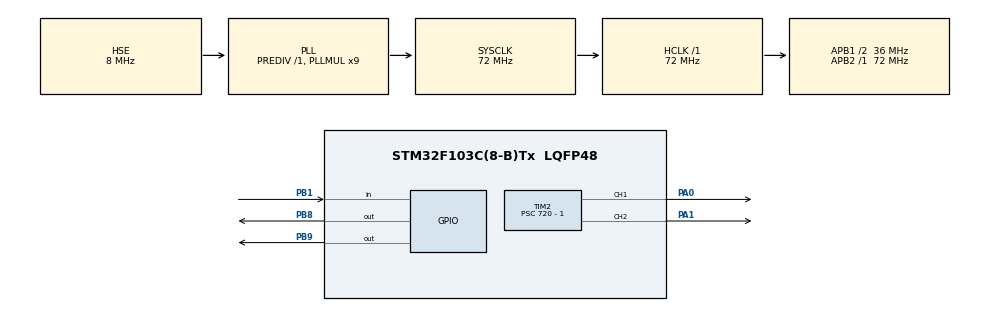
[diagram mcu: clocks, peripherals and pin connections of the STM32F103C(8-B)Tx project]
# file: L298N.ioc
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Mcu.Family=STM32F1
Mcu.Name=STM32F103C(8-B)Tx
Mcu.Package=LQFP48
NVIC.PriorityGroup=NVIC_PRIORITYGROUP_4
PA0-WKUP.Signal=S_TIM2_CH1_ETR
PA1.Signal=S_TIM2_CH2
PA13.Mode=Serial_Wire
PA13.Signal=SYS_JTMS-SWDIO
PA14.Mode=Serial_Wire
PA14.Signal=SYS_JTCK-SWCLK
PB1.GPIO_PuPd=GPIO_PULLUP
PB1.Signal=GPIO_Input
PB8.GPIO_ModeDefaultOutputPP=GPIO_MODE_OUTPUT_OD
PB8.GPIO_PuPd=GPIO_NOPULL
PB8.GPIO_Speed=GPIO_SPEED_FREQ_HIGH
PB8.Signal=GPIO_Output
PB9.GPIO_ModeDefaultOutputPP=GPIO_MODE_OUTPUT_OD
PB9.GPIO_PuPd=GPIO_NOPULL
PB9.GPIO_Speed=GPIO_SPEED_FREQ_HIGH
PB9.Signal=GPIO_Output
PD0-OSC_IN.Mode=HSE-External-Oscillator
PD0-OSC_IN.Signal=RCC_OSC_IN
PD1-OSC_OUT.Mode=HSE-External-Oscillator
PD1-OSC_OUT.Signal=RCC_OSC_OUT
ProjectManager.HeapSize=0x200
ProjectManager.StackSize=0x400
ProjectManager.TargetToolchain=MDK-ARM V5.32
RCC.AHBFreq_Value=72000000
RCC.APB1CLKDivider=RCC_HCLK_DIV2
RCC.APB1Freq_Value=36000000
RCC.APB1TimFreq_Value=72000000
RCC.APB2Freq_Value=72000000
RCC.APB2TimFreq_Value=72000000
RCC.HCLKFreq_Value=72000000
RCC.PLLMUL=RCC_PLL_MUL9
RCC.PLLSourceVirtual=RCC_PLLSOURCE_HSE
RCC.SYSCLKFreq_VALUE=72000000
RCC.SYSCLKSource=RCC_SYSCLKSOURCE_PLLCLK
RCC.USBFreq_Value=72000000
SH.S_TIM2_CH1_ETR.0=TIM2_CH1,PWM Generation1 CH1
SH.S_TIM2_CH2.0=TIM2_CH2,PWM Generation2 CH2
TIM2.Channel-PWM\ Generation1\ CH1=TIM_CHANNEL_1
TIM2.Channel-PWM\ Generation2\ CH2=TIM_CHANNEL_2
TIM2.Period=100 - 1
TIM2.Prescaler=720 - 1
TIM2.Pulse-PWM\ Generation1\ CH1=50
VP_TIM2_VS_ClockSourceINT.Mode=Internal
board=custom

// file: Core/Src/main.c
/* USER CODE BEGIN Header */
/**
  ******************************************************************************
  * @file           : main.c
  * @brief          : Main program body
  ******************************************************************************
  * @attention
  *
  * Copyright (c) 2024 STMicroelectronics.
  * All rights reserved.
  *
  * This software is licensed under terms that can be found in the LICENSE file
  * in the root directory of this software component.
  * If no LICENSE file comes with this software, it is provided AS-IS.
  *
  ******************************************************************************
  */
/* USER CODE END Header */
#include "main.h"
#include "tim.h"
#include "gpio.h"

/* USER CODE BEGIN Includes */
#include "key.h"
#include "L298N.h"
#include "OLED.h"
#include "OLED_Data.h"
/* USER CODE END Includes */

/* USER CODE BEGIN PV */
uint8_t key_val;
int16_t state;
uint8_t key_flag;
/* USER CODE END PV */

void SystemClock_Config(void);

int main(void)
{

  /* MCU Configuration--------------------------------------------------------*/

  /* Reset of all peripherals, Initializes the Flash interface and the Systick. */
  HAL_Init();

  /* Configure the system clock */
  SystemClock_Config();

  /* Initialize all configured peripherals */
  MX_GPIO_Init();
  MX_TIM2_Init();
  /* USER CODE BEGIN 2 */
	OLED_Init();
	OLED_Update();
  /* USER CODE END 2 */

  /* Infinite loop */
  /* USER CODE BEGIN WHILE */
  while (1)
  {
		key_val = Key_Read();
		if (key_val && key_flag)
		{
			key_flag = 0;
			state += 10;
			if (state == 110) state = -100;
		}
		if (!key_val) key_flag = 1;

		L258N_Ctrl(state);

		OLED_Printf(0, 0, 8, "state: %-4d", state);
		OLED_Update();

    /* USER CODE END WHILE */

  }
}

void SystemClock_Config(void)
{
  RCC_OscInitTypeDef RCC_OscInitStruct = {0};
  RCC_ClkInitTypeDef RCC_ClkInitStruct = {0};

  /** Initializes the RCC Oscillators according to the specified parameters
  * in the RCC_OscInitTypeDef structure.
  */
  RCC_OscInitStruct.OscillatorType = RCC_OSCILLATORTYPE_HSE;
  RCC_OscInitStruct.HSEState = RCC_HSE_ON;
  RCC_OscInitStruct.HSEPredivValue = RCC_HSE_PREDIV_DIV1;
  RCC_OscInitStruct.HSIState = RCC_HSI_ON;
  RCC_OscInitStruct.PLL.PLLState = RCC_PLL_ON;
  RCC_OscInitStruct.PLL.PLLSource = RCC_PLLSOURCE_HSE;
  RCC_OscInitStruct.PLL.PLLMUL = RCC_PLL_MUL9;
  if (HAL_RCC_OscConfig(&RCC_OscInitStruct) != HAL_OK)
  {
    Error_Handler();
  }

  /** Initializes the CPU, AHB and APB buses clocks
  */
  RCC_ClkInitStruct.ClockType = RCC_CLOCKTYPE_HCLK|RCC_CLOCKTYPE_SYSCLK
                              |RCC_CLOCKTYPE_PCLK1|RCC_CLOCKTYPE_PCLK2;
  RCC_ClkInitStruct.SYSCLKSource = RCC_SYSCLKSOURCE_PLLCLK;
  RCC_ClkInitStruct.AHBCLKDivider = RCC_SYSCLK_DIV1;
  RCC_ClkInitStruct.APB1CLKDivider = RCC_HCLK_DIV2;
  RCC_ClkInitStruct.APB2CLKDivider = RCC_HCLK_DIV1;

  if (HAL_RCC_ClockConfig(&RCC_ClkInitStruct, FLASH_LATENCY_2) != HAL_OK)
  {
    Error_Handler();
  }
}

void Error_Handler(void)
{
  __disable_irq();
  while (1)
  {
  }
}
